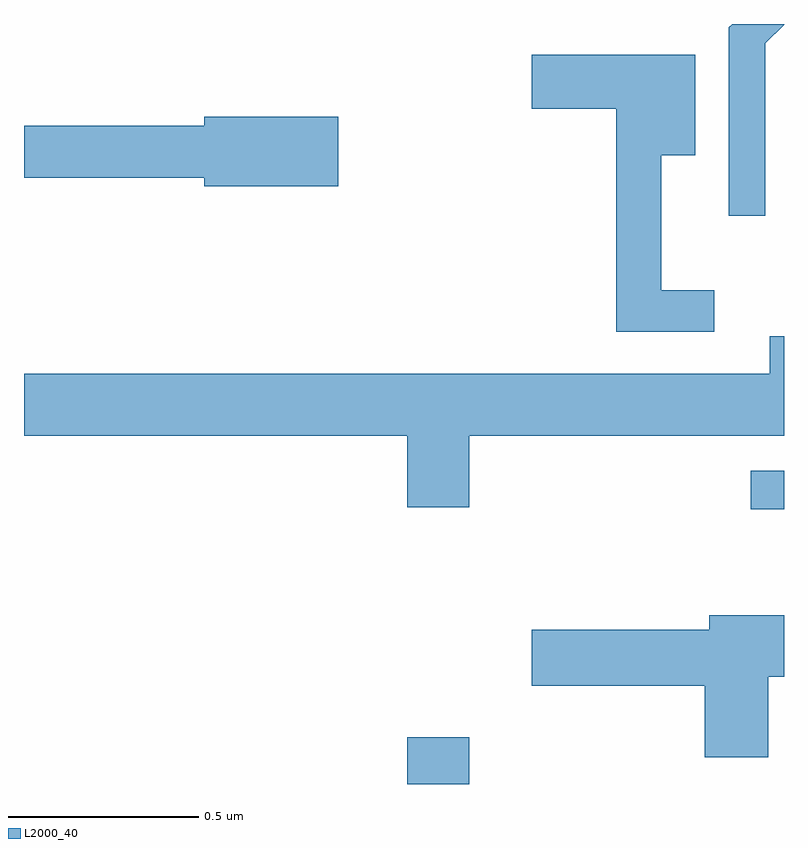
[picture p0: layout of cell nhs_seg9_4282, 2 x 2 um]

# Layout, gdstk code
import gdstk
lib = gdstk.Library(unit=1e-6, precision=1e-09)
def R(c, l, rs):  # rectangles x0, y0, x1, y1
    for r in rs: c.add(gdstk.rectangle(r[:2], r[2:], *l))
def P(c, l, *ps):  # polygons
    for p in ps: c.add(gdstk.Polygon(p, *l))
L2000_40 = (2000, 40)

nhs_seg9_4282 = lib.new_cell('nhs_seg9_4282')
R(nhs_seg9_4282, L2000_40, [(165.008,1199.5,165.172,1199.623), (165.912,1200.223,166,1200.324)])
P(nhs_seg9_4282, L2000_40, [(165.951,1201.449),(166,1201.498),(166,1201.5),(165.864,1201.5),(165.855,1201.491),(165.855,1200.996),(165.951,1200.996)],
  [(165.817,1200.799),(165.677,1200.799),(165.677,1201.154),(165.766,1201.154),(165.766,1201.419),(165.336,1201.419),(165.336,1201.277),(165.559,1201.277),(165.559,1200.69),(165.817,1200.69)],
  [(164.827,1201.256),(164.474,1201.256),(164.474,1201.232),(164,1201.232),(164,1201.096),(164.474,1201.096),(164.474,1201.073),(164.827,1201.073)],
  [(165.172,1200.416),(166,1200.416),(166,1200.678),(165.962,1200.678),(165.962,1200.58),(164,1200.58),(164,1200.416),(165.008,1200.416),(165.008,1200.228),(165.172,1200.228)],
  [(165.958,1199.782),(166,1199.782),(166,1199.944),(165.803,1199.944),(165.803,1199.906),(165.336,1199.906),(165.336,1199.759),(165.791,1199.759),(165.791,1199.571),(165.958,1199.571)])

lib.write_gds('nhs_seg9_4282.gds')
